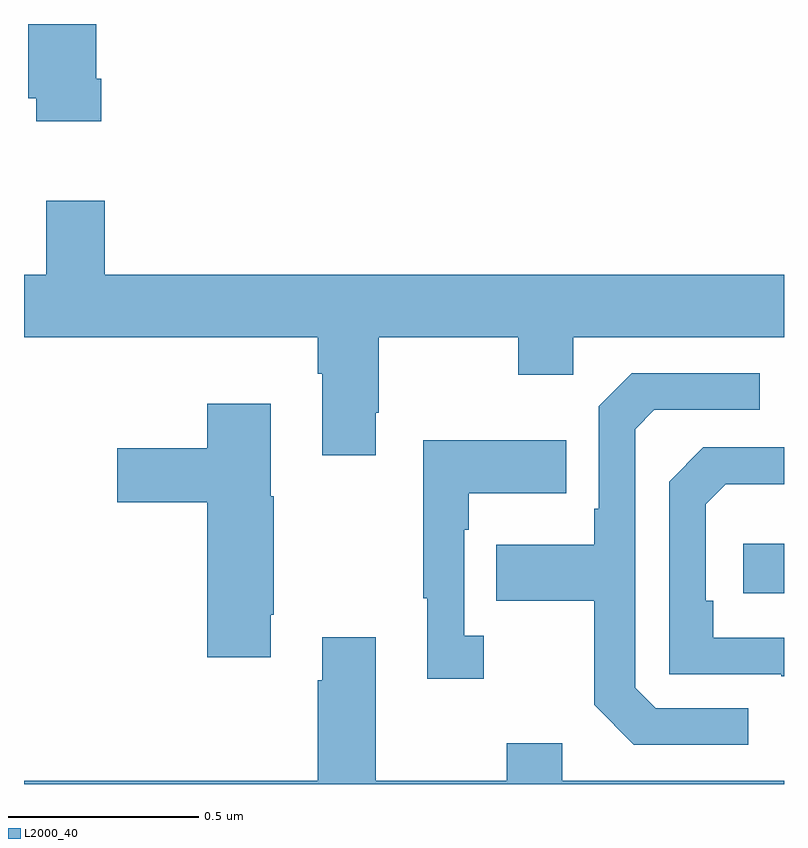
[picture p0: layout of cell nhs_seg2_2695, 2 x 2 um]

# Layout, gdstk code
import gdstk
lib = gdstk.Library(unit=1e-6, precision=1e-09)
def R(c, l, rs):  # rectangles x0, y0, x1, y1
    for r in rs: c.add(gdstk.rectangle(r[:2], r[2:], *l))
def P(c, l, *ps):  # polygons
    for p in ps: c.add(gdstk.Polygon(p, *l))
L2000_40 = (2000, 40)

nhs_seg2_2695 = lib.new_cell('nhs_seg2_2695')
R(nhs_seg2_2695, L2000_40, [(145.893,640.302,146,640.432)])
P(nhs_seg2_2695, L2000_40, [(144.203,641.656),(144.19,641.656),(144.19,641.8),(144.011,641.8),(144.011,641.604),(144.032,641.604),(144.032,641.544),(144.203,641.544)],
  [(144.925,640.777),(144.933,640.777),(144.933,640.976),(145.3,640.976),(145.3,640.877),(145.446,640.877),(145.446,640.976),(146,640.976),(146,641.14),(144.212,641.14),(144.212,641.335),(144.059,641.335),(144.059,641.14),(144,641.14),(144,640.976),(144.773,640.976),(144.773,640.88),(144.785,640.88),(144.785,640.665),(144.925,640.665)],
  [(145.906,639.999),(145.662,639.999),(145.608,640.053),(145.608,640.734),(145.659,640.785),(145.936,640.785),(145.936,640.881),(145.599,640.881),(145.512,640.794),(145.512,640.525),(145.5,640.525),(145.5,640.429),(145.243,640.429),(145.243,640.282),(145.5,640.282),(145.5,640.009),(145.605,639.903),(145.906,639.903)],
  [(144.649,640.246),(144.657,640.246),(144.657,640.557),(144.649,640.557),(144.649,640.801),(144.482,640.801),(144.482,640.683),(144.246,640.683),(144.246,640.541),(144.482,640.541),(144.482,640.134),(144.649,640.134)],
  [(145.21,640.19),(145.158,640.19),(145.158,640.469),(145.171,640.469),(145.171,640.565),(145.427,640.565),(145.427,640.705),(145.05,640.705),(145.05,640.289),(145.061,640.289),(145.061,640.077),(145.21,640.077)],
  [(146,640.185),(145.814,640.185),(145.814,640.282),(145.794,640.282),(145.794,640.536),(145.847,640.589),(146,640.589),(146,640.686),(145.788,640.686),(145.698,640.596),(145.698,640.089),(145.993,640.089),(145.993,640.084),(146,640.084)],
  [(146,639.808),(145.417,639.808),(145.417,639.907),(145.27,639.907),(145.27,639.808),(144.925,639.808),(144.925,640.186),(144.785,640.186),(144.785,640.073),(144.773,640.073),(144.773,639.808),(144,639.808),(144,639.8),(146,639.8)])

lib.write_gds('nhs_seg2_2695.gds')
